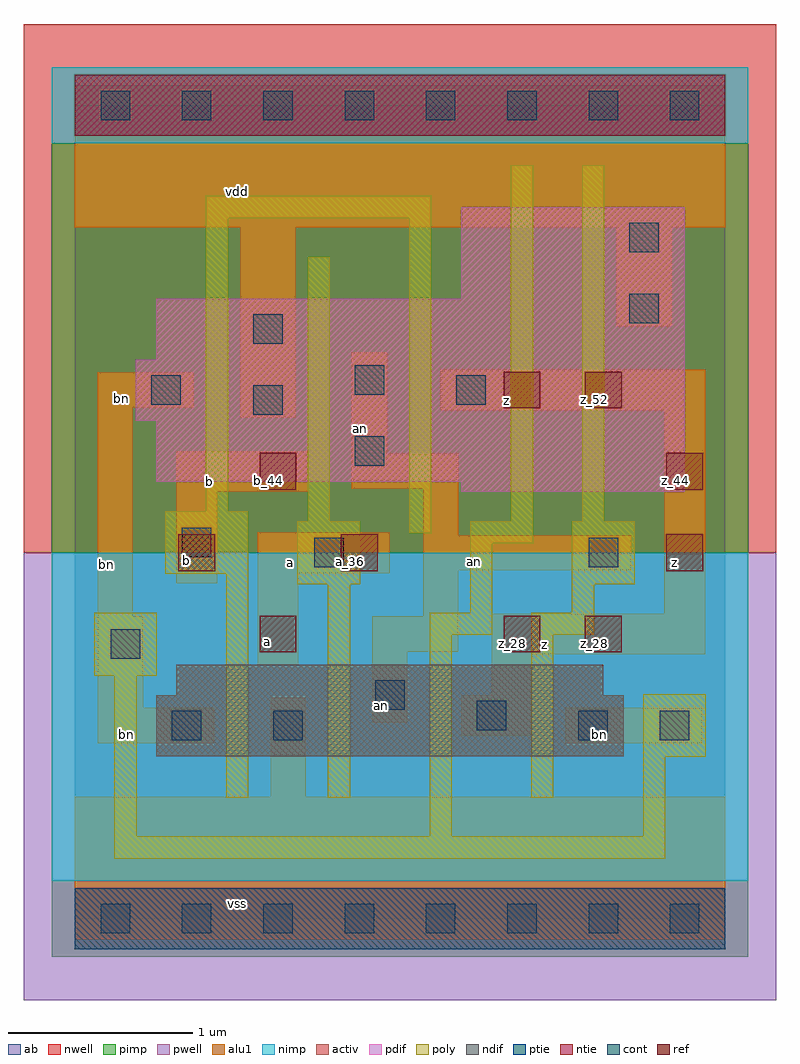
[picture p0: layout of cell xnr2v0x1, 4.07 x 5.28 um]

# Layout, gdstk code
import gdstk
lib = gdstk.Library(unit=1e-6, precision=2.5e-09)
def R(c, l, rs):  # rectangles x0, y0, x1, y1
    for r in rs: c.add(gdstk.rectangle(r[:2], r[2:], *l))
def A(c, l, x, y, w, h, nx, ny, dx, dy):  # array of equal rectangles
    R(c, l, [(x+i*dx, y+j*dy, x+i*dx+w, y+j*dy+h) for i in range(nx) for j in range(ny)])
ndif = (3, 0)
pdif = (4, 0)
ntie = (5, 0)
ptie = (6, 0)
ref = (24, 0)
cont = (25, 0)
pwell = (41, 0)
nwell = (42, 0)
activ = (43, 0)
pimp = (44, 0)
nimp = (45, 0)
poly = (46, 0)
alu1 = (49, 0)
ab = (63, 0)

xnr2v0x1 = lib.new_cell('xnr2v0x1')
R(xnr2v0x1, ndif, [(0.44,0.88,2.97,1.21), (0.55,1.21,2.86,1.375)])
R(xnr2v0x1, pdif, [(2.09,2.31,3.3,2.365), (0.44,2.365,3.3,2.695), (0.33,2.695,3.3,3.025), (0.44,3.025,3.3,3.355), (2.09,3.355,3.3,3.85)])
R(xnr2v0x1, ntie, [(0,4.235,3.52,4.565)])
R(xnr2v0x1, ptie, [(0,-0.165,3.52,0.165)])
R(xnr2v0x1, ref, [(1,1.44,1.2,1.64), (2.32,1.44,2.52,1.64), (2.76,1.44,2.96,1.64), (0.56,1.88,0.76,2.08), (1.44,1.88,1.64,2.08), (3.2,1.88,3.4,2.08), (1,2.32,1.2,2.52), (3.2,2.32,3.4,2.52), (2.32,2.76,2.52,2.96), (2.76,2.76,2.96,2.96)])
A(xnr2v0x1, cont, 0.14, -0.08, 0.16, 0.16, 8, 2, 0.44, 4.4)
R(xnr2v0x1, cont, [(0.525,0.965,0.685,1.125), (1.075,0.965,1.235,1.125), (2.725,0.965,2.885,1.125), (3.165,0.965,3.325,1.125), (2.175,1.02,2.335,1.18), (1.625,1.13,1.785,1.29), (0.195,1.405,0.355,1.565), (1.295,1.9,1.455,2.06), (2.78,1.9,2.94,2.06), (0.58,1.955,0.74,2.115), (1.515,2.45,1.675,2.61), (0.965,2.725,1.125,2.885), (0.415,2.78,0.575,2.94), (2.065,2.78,2.225,2.94), (1.515,2.835,1.675,2.995), (0.965,3.11,1.125,3.27), (3,3.22,3.16,3.38), (3,3.605,3.16,3.765)])
R(xnr2v0x1, pwell, [(-0.275,-0.44,3.795,1.98)])
R(xnr2v0x1, nwell, [(-0.275,1.98,3.795,4.84)])
R(xnr2v0x1, activ, [(0,-0.165,3.52,0.165), (0.44,0.88,2.97,1.21), (0.55,1.21,2.86,1.375), (2.09,2.31,3.3,2.365), (0.44,2.365,3.3,2.695), (0.33,2.695,3.3,3.025), (0.44,3.025,3.3,3.355), (2.09,3.355,3.3,3.85), (0,4.235,3.52,4.565)])
R(xnr2v0x1, pimp, [(-0.125,-0.205,3.645,0.205), (-0.125,1.98,3.645,4.195)])
R(xnr2v0x1, nimp, [(-0.125,0.205,3.645,1.98), (-0.125,4.195,3.645,4.605)])
R(xnr2v0x1, poly, [(0.215,0.325,3.195,0.445), (0.215,0.445,0.335,1.315), (1.92,0.445,2.04,1.535), (3.075,0.445,3.195,0.875), (0.82,0.655,0.94,1.865), (1.37,0.655,1.49,1.81), (2.47,0.655,2.59,1.535), (3.075,0.875,3.415,1.215), (0.105,1.315,0.445,1.655), (1.92,1.535,2.26,1.655), (2.47,1.535,2.81,1.655), (2.14,1.655,2.26,2.03), (2.69,1.655,2.81,1.81), (1.205,1.81,1.545,2.15), (2.69,1.81,3.03,2.15), (0.49,1.865,0.94,2.205), (2.14,2.03,2.48,2.15), (1.81,2.085,1.93,3.79), (1.26,2.15,1.38,3.58), (2.36,2.15,2.48,4.075), (2.745,2.15,2.865,4.075), (0.71,2.205,0.83,3.79), (0.71,3.79,1.93,3.91)])
R(xnr2v0x1, alu1, [(0,-0.11,3.52,0.66), (1.06,0.66,1.25,1.195), (0.125,0.95,0.755,1.14), (2.655,0.95,3.395,1.14), (2.09,0.99,2.475,1.21), (1.61,1.06,1.8,1.445), (0.125,1.14,0.37,1.635), (2.255,1.21,2.475,1.43), (0.99,1.375,1.21,1.87), (2.255,1.43,3.41,1.65), (1.61,1.445,2.075,1.635), (0.125,1.635,0.315,2.765), (1.885,1.635,2.075,1.885), (3.19,1.65,3.41,2.75), (0.55,1.815,0.77,2.31), (0.99,1.87,1.705,2.09), (1.885,1.885,3.01,2.075), (1.885,2.075,2.075,2.325), (0.55,2.31,1.265,2.53), (1.5,2.325,2.075,2.515), (1.5,2.515,1.69,3.065), (0.895,2.71,1.195,3.74), (1.98,2.75,3.41,2.97), (0.125,2.765,0.645,2.955), (2.93,3.205,3.23,3.74), (0,3.74,3.52,4.51)])
R(xnr2v0x1, ab, [(0,0,3.52,4.4)])
xnr2v0x1.add(gdstk.Label('vss', (0.88,0.0825), layer=49, texttype=0))
xnr2v0x1.add(gdstk.Label('bn', (2.84,0.9975), layer=49, texttype=0))
xnr2v0x1.add(gdstk.Label('z', (2.5425,1.485), layer=49, texttype=0))
xnr2v0x1.add(gdstk.Label('an', (1.6575,1.155), layer=49, texttype=0))
xnr2v0x1.add(gdstk.Label('bn', (0.2825,0.9975), layer=49, texttype=0))
xnr2v0x1.add(gdstk.Label('z', (3.245,1.925), layer=49, texttype=0))
xnr2v0x1.add(gdstk.Label('a', (1.045,1.4975), layer=49, texttype=0))
xnr2v0x1.add(gdstk.Label('an', (2.165,1.9325), layer=49, texttype=0))
xnr2v0x1.add(gdstk.Label('a', (1.1675,1.925), layer=49, texttype=0))
xnr2v0x1.add(gdstk.Label('b', (0.605,1.9375), layer=49, texttype=0))
xnr2v0x1.add(gdstk.Label('z', (2.3375,2.805), layer=49, texttype=0))
xnr2v0x1.add(gdstk.Label('an', (1.5475,2.6525), layer=49, texttype=0))
xnr2v0x1.add(gdstk.Label('b', (0.7275,2.365), layer=49, texttype=0))
xnr2v0x1.add(gdstk.Label('bn', (0.1725,1.9175), layer=49, texttype=0))
xnr2v0x1.add(gdstk.Label('bn', (0.255,2.8125), layer=49, texttype=0))
xnr2v0x1.add(gdstk.Label('vdd', (0.88,3.9325), layer=49, texttype=0))
xnr2v0x1.add(gdstk.Label('b_36', (0.61,1.93), layer=24, texttype=0))
xnr2v0x1.add(gdstk.Label('b_44', (1.05,2.37), layer=24, texttype=0))
xnr2v0x1.add(gdstk.Label('a_36', (1.49,1.93), layer=24, texttype=0))
xnr2v0x1.add(gdstk.Label('a_28', (1.05,1.49), layer=24, texttype=0))
xnr2v0x1.add(gdstk.Label('z_52', (2.37,2.81), layer=24, texttype=0))
xnr2v0x1.add(gdstk.Label('z_52', (2.81,2.81), layer=24, texttype=0))
xnr2v0x1.add(gdstk.Label('z_44', (3.25,2.37), layer=24, texttype=0))
xnr2v0x1.add(gdstk.Label('z_36', (3.25,1.93), layer=24, texttype=0))
xnr2v0x1.add(gdstk.Label('z_28', (2.81,1.49), layer=24, texttype=0))
xnr2v0x1.add(gdstk.Label('z_28', (2.37,1.49), layer=24, texttype=0))

lib.write_gds('xnr2v0x1.gds')
